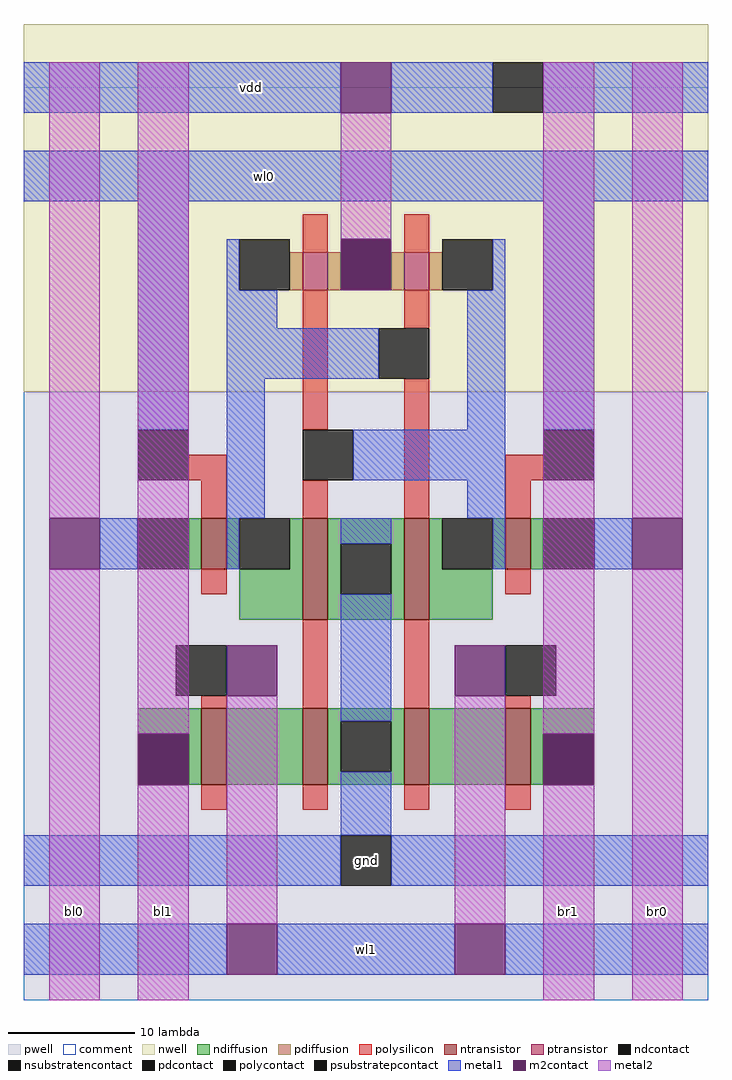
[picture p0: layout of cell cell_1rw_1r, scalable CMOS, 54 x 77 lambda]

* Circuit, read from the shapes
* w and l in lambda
.subckt cell_1rw_1r bl0 bl1 br0 br1 gnd vdd wl0 wl1
M1 n1 wl1 bl1 gnd nfet w=6 l=2
M2 n2 wl0 bl0 gnd nfet w=4 l=2
M3 gnd n3 n1 gnd nfet w=6 l=2
M4 gnd n3 n2 gnd nfet w=8 l=2
M5 n4 n2 gnd gnd nfet w=6 l=2
M6 n3 n2 gnd gnd nfet w=8 l=2
M7 br1 wl1 n4 gnd nfet w=6 l=2
M8 br0 wl0 n3 gnd nfet w=4 l=2
M9 vdd n3 n2 vdd pfet w=3 l=2
M10 n3 n2 vdd vdd pfet w=3 l=2
.ends

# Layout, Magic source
magic
tech scmos
<< nwell >>
rect 0 48 54 77
<< pwell >>
rect 0 0 54 48
<< ntransistor >>
rect 14 34 16 38
rect 22 30 24 38
rect 30 30 32 38
rect 38 34 40 38
rect 14 17 16 23
rect 22 17 24 23
rect 30 17 32 23
rect 38 17 40 23
<< ptransistor >>
rect 22 56 24 59
rect 30 56 32 59
<< ndiffusion >>
rect 13 34 14 38
rect 16 34 17 38
rect 21 34 22 38
rect 17 30 22 34
rect 24 36 30 38
rect 24 32 25 36
rect 29 32 30 36
rect 24 30 30 32
rect 32 34 33 38
rect 37 34 38 38
rect 40 34 41 38
rect 32 30 37 34
rect 9 21 14 23
rect 13 17 14 21
rect 16 17 22 23
rect 24 22 30 23
rect 24 18 25 22
rect 29 18 30 22
rect 24 17 30 18
rect 32 17 38 23
rect 40 21 45 23
rect 40 17 41 21
<< pdiffusion >>
rect 21 56 22 59
rect 24 56 25 59
rect 29 56 30 59
rect 32 56 33 59
<< ndcontact >>
rect 9 34 13 38
rect 17 34 21 38
rect 25 32 29 36
rect 33 34 37 38
rect 41 34 45 38
rect 9 17 13 21
rect 25 18 29 22
rect 41 17 45 21
<< pdcontact >>
rect 17 56 21 60
rect 25 56 29 60
rect 33 56 37 60
<< psubstratepcontact >>
rect 25 9 29 13
<< nsubstratencontact >>
rect 37 70 41 74
<< polysilicon >>
rect 22 59 24 62
rect 30 59 32 62
rect 22 45 24 56
rect 30 53 32 56
rect 13 41 16 43
rect 14 38 16 41
rect 22 38 24 41
rect 30 38 32 49
rect 38 41 41 43
rect 38 38 40 41
rect 14 32 16 34
rect 38 32 40 34
rect 14 23 16 24
rect 22 23 24 30
rect 30 23 32 30
rect 38 23 40 24
rect 14 15 16 17
rect 22 15 24 17
rect 30 15 32 17
rect 38 15 40 17
<< polycontact >>
rect 28 49 32 53
rect 9 41 13 45
rect 22 41 26 45
rect 41 41 45 45
rect 12 24 16 28
rect 38 24 42 28
<< metal1 >>
rect 0 70 25 74
rect 29 70 37 74
rect 41 70 54 74
rect 0 63 54 67
rect 9 45 13 63
rect 16 56 17 60
rect 37 56 38 60
rect 16 53 20 56
rect 16 49 28 53
rect 16 38 19 49
rect 35 45 38 56
rect 26 41 38 45
rect 41 45 45 63
rect 35 38 38 41
rect 6 34 9 38
rect 16 34 17 38
rect 25 36 29 38
rect 37 34 38 38
rect 45 34 48 38
rect 25 22 29 32
rect 25 13 29 18
rect 0 9 25 13
rect 29 9 54 13
rect 0 2 16 6
rect 20 2 34 6
rect 38 2 54 6
<< m2contact >>
rect 25 70 29 74
rect 25 56 29 60
rect 2 34 6 38
rect 48 34 52 38
rect 16 24 20 28
rect 34 24 38 28
rect 9 17 13 21
rect 41 17 45 21
rect 16 2 20 6
rect 34 2 38 6
<< metal2 >>
rect 2 38 6 74
rect 2 0 6 34
rect 9 21 13 74
rect 25 60 29 70
rect 9 0 13 17
rect 16 6 20 24
rect 34 6 38 24
rect 41 21 45 74
rect 41 0 45 17
rect 48 38 52 74
rect 48 0 52 34
<< comment >>
rect 0 0 54 72
<< labels >>
rlabel metal1 27 4 27 4 4 wl1
rlabel psubstratepcontact 27 11 27 11 4 gnd
rlabel metal2 4 7 4 7 4 bl0
rlabel metal2 50 7 50 7 4 br0
rlabel metal1 19 65 19 65 4 wl0
rlabel metal2 11 7 11 7 4 bl1
rlabel metal2 43 7 43 7 4 br1
rlabel metal1 18 72 18 72 1 vdd
<< properties >>
string path 0.000 0.000 243.000 0.000 243.000 324.000 0.000 324.000 0.000 0.000 
<< end >>
